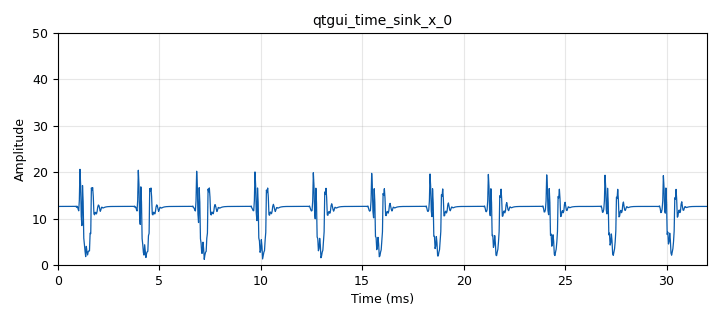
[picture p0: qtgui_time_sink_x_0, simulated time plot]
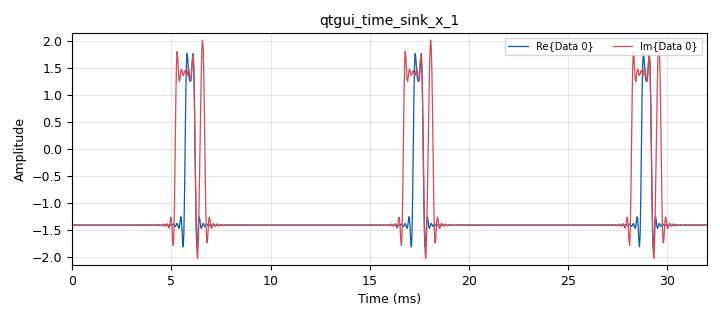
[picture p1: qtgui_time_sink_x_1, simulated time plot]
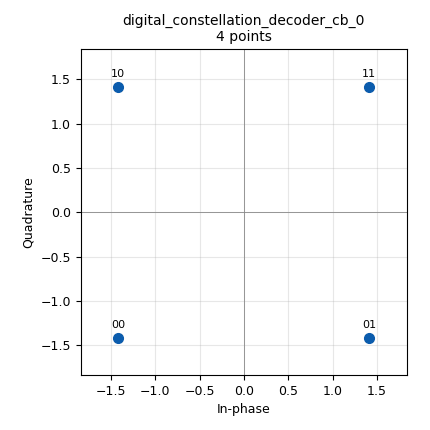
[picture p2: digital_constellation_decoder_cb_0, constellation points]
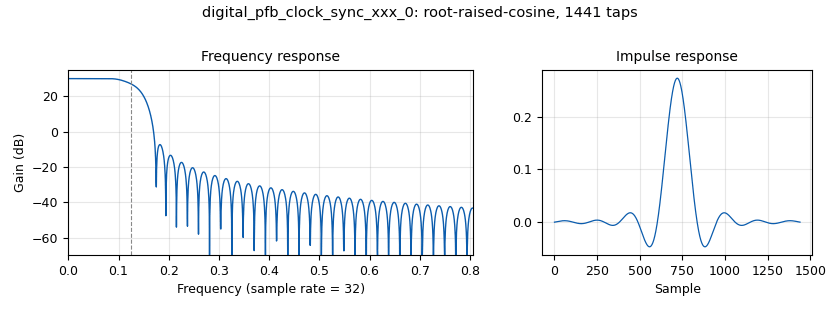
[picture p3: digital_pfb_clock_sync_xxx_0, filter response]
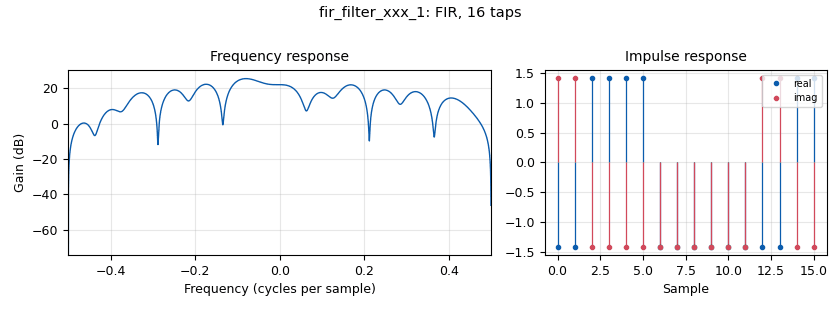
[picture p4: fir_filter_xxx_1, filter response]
options:
  parameters:
    author: Naoki Pross
    generate_options: qt_gui
    id: correlator
    output_language: python
    title: Correlator Test
  states: {}

blocks:
- name: const
  id: variable_constellation
  parameters:
    precision: '8'
    type: qpsk
  states: {}
- name: excess_bw
  id: variable
  parameters:
    value: '.35'
  states: {}
- name: nfilts
  id: variable
  parameters:
    value: '32'
  states: {}
- name: rrc_taps
  id: variable
  parameters:
    value: firdes.root_raised_cosine(nfilts, nfilts, 1.0/float(sps), excess_bw, 45*nfilts)
  states: {}
- name: samp_rate
  id: variable
  parameters:
    value: '32000'
  states: {}
- name: sps
  id: variable
  parameters:
    value: '4'
  states: {}
- name: timing_loop_bw
  id: variable
  parameters:
    value: 2 * 3.141592653589793 / 100
  states: {}
- name: blocks_complex_to_mag_0
  id: blocks_complex_to_mag
  parameters: {}
  states: {}
- name: blocks_null_sink_0
  id: blocks_null_sink
  parameters:
    type: byte
  states: {}
- name: blocks_throttle_0
  id: blocks_throttle
  parameters:
    samples_per_second: samp_rate
    type: byte
  states: {}
- name: blocks_vector_source_x_0
  id: blocks_vector_source_x
  parameters:
    repeat: 'False'
    type: byte
    vector: ([0x00] * 10 + [0xaa, 0xff, 0x0a] + [0x00] * 10) * 20
  states: {}
- name: digital_cma_equalizer_cc_0
  id: digital_cma_equalizer_cc
  parameters:
    modulus: '1'
    mu: '.002'
    num_taps: '15'
    sps: '1'
  states: {}
- name: digital_constellation_decoder_cb_0
  id: digital_constellation_decoder_cb
  parameters:
    constellation: const
  states: {}
- name: digital_constellation_modulator_0
  id: digital_constellation_modulator
  parameters:
    constellation: const
    differential: 'False'
    excess_bw: excess_bw
    samples_per_symbol: sps
  states: {}
- name: digital_pfb_clock_sync_xxx_0
  id: digital_pfb_clock_sync_xxx
  parameters:
    filter_size: nfilts
    init_phase: '16'
    loop_bw: timing_loop_bw
    max_dev: '1.5'
    osps: '1'
    sps: sps
    taps: rrc_taps
    type: ccf
  states: {}
- name: fir_filter_xxx_1
  id: fir_filter_xxx
  parameters:
    decim: '1'
    taps: '[(-1.4142197+1.4142197j), (-1.4142197+1.4142197j), (1.4142197-1.4142197j), (1.4142197-1.4142197j), (1.4142197-1.4142197j), (1.4142197-1.4142197j), (-1.4142197-1.4142197j), (-1.4142197-1.4142197j), (-1.4142197-1.4142197j), (-1.4142197-1.4142197j), (-1.4142197-1.4142197j), (-1.4142197-1.4142197j), (-1.4142197+1.4142197j), (-1.4142197+1.4142197j), (1.4142197-1.4142197j), (1.4142197-1.4142197j)]'
    type: ccc
  states: {}
- name: qtgui_time_sink_x_0
  id: qtgui_time_sink_x
  parameters:
    ctrlpanel: 'True'
    size: '1024'
    srate: samp_rate
    type: float
    ymax: '50'
    ymin: '0'
  states: {}
- name: qtgui_time_sink_x_1
  id: qtgui_time_sink_x
  parameters:
    ctrlpanel: 'True'
    size: '1024'
    srate: samp_rate
    type: complex
    ymax: '2'
    ymin: '-2'
  states: {}

connections:
- [blocks_complex_to_mag_0, '0', qtgui_time_sink_x_0, '0']
- [blocks_throttle_0, '0', digital_constellation_modulator_0, '0']
- [blocks_vector_source_x_0, '0', blocks_throttle_0, '0']
- [digital_cma_equalizer_cc_0, '0', digital_constellation_decoder_cb_0, '0']
- [digital_cma_equalizer_cc_0, '0', fir_filter_xxx_1, '0']
- [digital_constellation_decoder_cb_0, '0', blocks_null_sink_0, '0']
- [digital_constellation_modulator_0, '0', digital_pfb_clock_sync_xxx_0, '0']
- [digital_constellation_modulator_0, '0', qtgui_time_sink_x_1, '0']
- [digital_pfb_clock_sync_xxx_0, '0', digital_cma_equalizer_cc_0, '0']
- [fir_filter_xxx_1, '0', blocks_complex_to_mag_0, '0']

metadata:
  file_format: 1
